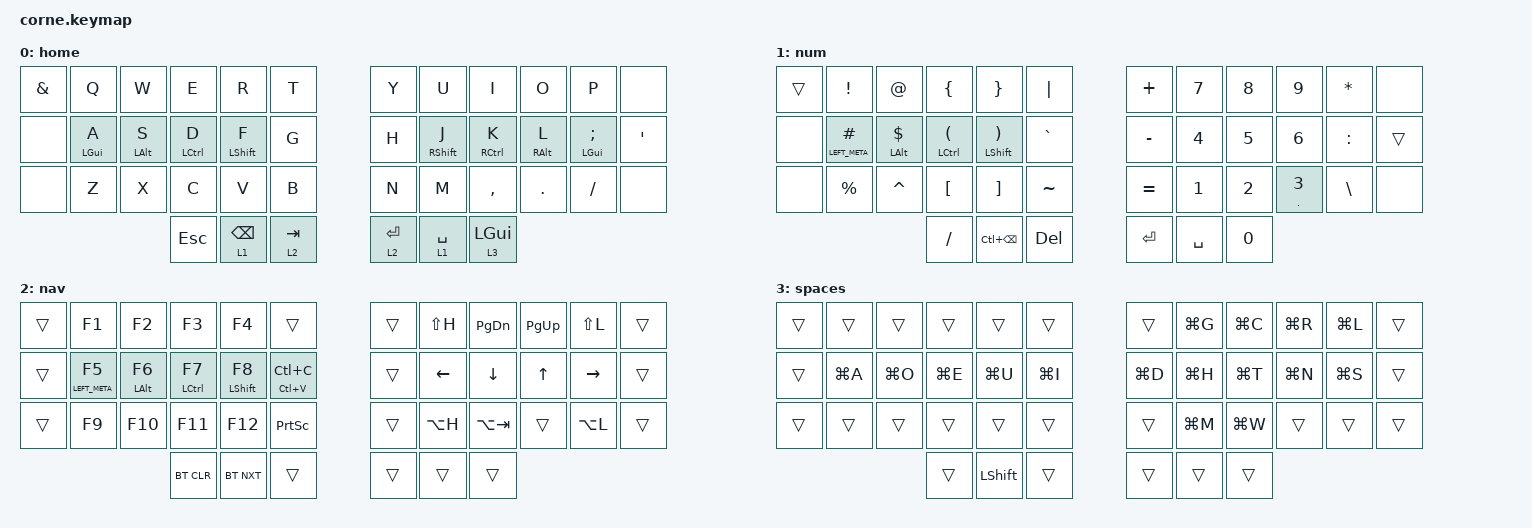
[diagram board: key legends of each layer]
/*
 * Copyright (c) 2020 The ZMK Contributors
 *
 * SPDX-License-Identifier: MIT
 */

#include <behaviors.dtsi>
#include <dt-bindings/zmk/bt.h>
#include <dt-bindings/zmk/keys.h>

/ {
    behaviors {
        hm: homerow_mods {
            compatible = "zmk,behavior-hold-tap";
            label = "HOMEROW_MODS";
            bindings = <&kp>, <&kp>;

            #binding-cells = <2>;
            tapping-term-ms = <200>;
            flavor = "tap-preferred";
            require-prior-idle-ms = <125>;
            quick-tap-ms = <200>;
        };

        shifthr: shifthr {
            compatible = "zmk,behavior-hold-tap";
            label = "SHIFTHR";
            bindings = <&kp>, <&kp>;

            #binding-cells = <2>;
            tapping-term-ms = <185>;
            flavor = "tap-preferred";
            quick-tap-ms = <185>;
        };

        weak: weak {
            compatible = "zmk,behavior-hold-tap";
            label = "WEAK";
            bindings = <&kp>, <&kp>;

            #binding-cells = <2>;
            tapping-term-ms = <230>;
            flavor = "tap-preferred";
            require-prior-idle-ms = <125>;
            quick-tap-ms = <230>;
        };

        backspace: backspace {
            compatible = "zmk,behavior-tap-dance";
            label = "BACKSPACE";
            #binding-cells = <0>;
            bindings = <&kp BACKSPACE>, <&kp LC(BACKSPACE)>;
        };
    };

    combos {
        compatible = "zmk,combos";

        caps {
            bindings = <&kp CAPS>;
            key-positions = <16 19>;
        };

        jk_fix {
            bindings = <&kp ESCAPE>;
            key-positions = <31 32>;
        };

        under {
            bindings = <&kp UNDER>;
            key-positions = <28 31>;
        };

        dash {
            bindings = <&kp MINUS>;
            key-positions = <4 7>;
        };
    };

    macros {
        save: save {
            compatible = "zmk,behavior-macro";
            #binding-cells = <0>;
            bindings = <&macro_tap>, <&kp ESCAPE &kp COLON &kp W &kp ENTER>;

            label = "SAVE";
        };

        email: email {
            compatible = "zmk,behavior-macro";
            #binding-cells = <0>;
            bindings = <&none &kp J &kp O &kp S &kp H &kp AT &kp J &kp O &kp S &kp H &kp B &kp L &kp A &kp I &kp S &kp DOT &kp C &kp O &kp M>;
            label = "EMAIL";
        };
    };

    keymap {
        compatible = "zmk,keymap";

        home {
            // -----------------------------------------------------------------------------------------
            // |  TAB |  Q  |  W  |  E  |  R  |  T  |   |  Y  |  U   |  I  |  O  |  P  | BKSP |
            // | CTRL |  A  |  S  |  D  |  F  |  G  |   |  H  |  J   |  K  |  L  |  ;  |  '   |
            // | SHFT |  Z  |  X  |  C  |  V  |  B  |   |  N  |  M   |  ,  |  .  |  /  | ESC  |
            //                    | GUI | LWR | SPC |   | ENT | RSE  | ALT |

            bindings = <
&kp AMPERSAND  &kp Q            &kp W                &kp E                    &kp R                  &kp T        &kp Y        &kp U              &kp I             &kp O                 &kp P                    &none
&none          &shifthr LGUI A  &shifthr LEFT_ALT S  &shifthr LEFT_CONTROL D  &shifthr LEFT_SHIFT F  &kp G        &kp H        &shifthr RSHIFT J  &shifthr RCTRL K  &shifthr RIGHT_ALT L  &shifthr LGUI SEMICOLON  &kp SQT
&none          &kp Z            &kp X                &kp C                    &kp V                  &kp B        &kp N        &kp M              &kp COMMA         &kp PERIOD            &kp SLASH                &none
                                             &kp ESCAPE               &lt 1 BACKSPACE        &lt 2 TAB    &lt 2 ENTER  &lt 1 SPACE        &lt 3 LGUI
            >;

            label = "home";
        };

        num {
            // -----------------------------------------------------------------------------------------
            // |  TAB |  !  |  @  |  #  |  $  |  %  |   |  ^  |  &  |  *  |  (  |  )  | BKSP |
            // | CTRL |     |     |     |     |     |   |  -  |  =  |  [  |  ]  |  \  |  `   |
            // | SHFT |     |     |     |     |     |   |  _  |  +  |  {  |  }  | "|" |  ~   |
            //                    | GUI |     | SPC |   | ENT |     | ALT |

            bindings = <
&trans  &kp EXCL            &kp AT               &kp LEFT_BRACE              &kp RIGHT_BRACE                   &kp PIPE     &kp PLUS   &kp NUMBER_7  &kp N8        &kp N9                    &kp ASTERISK   &none
&none   &hm LEFT_META HASH  &hm LEFT_ALT DOLLAR  &hm LCTRL LEFT_PARENTHESIS  &hm LEFT_SHIFT RIGHT_PARENTHESIS  &kp GRAVE    &kp MINUS  &kp NUMBER_4  &kp NUMBER_5  &kp NUMBER_6              &kp COLON      &trans
&none   &kp PERCENT         &kp CARET            &kp LEFT_BRACKET            &kp RIGHT_BRACKET                 &kp TILDE    &kp EQUAL  &kp NUMBER_1  &kp NUMBER_2  &shifthr PERIOD NUMBER_3  &kp BACKSLASH  &none
                                                &kp SLASH                   &kp LC(BACKSPACE)                 &kp DEL      &kp RET    &kp SPACE     &kp N0
            >;

            label = "num";
        };

        nav {
            bindings = <
&trans  &kp F1            &kp F2           &kp F3        &kp F4             &trans             &trans  &kp LS(H)  &kp PG_DN    &kp PG_UP  &kp LS(L)  &trans
&trans  &hm LEFT_META F5  &hm LEFT_ALT F6  &hm LCTRL F7  &hm LEFT_SHIFT F8  &hm LC(V) LC(C)    &trans  &kp LEFT   &kp DOWN     &kp UP     &kp RIGHT  &trans
&trans  &kp F9            &kp F10          &kp F11       &kp F12            &kp PSCRN          &trans  &kp LA(H)  &kp LA(TAB)  &trans     &kp LA(L)  &trans
                                           &bt BT_CLR    &bt BT_NXT         &trans             &trans  &trans     &trans
            >;

            label = "nav";
        };

        spaces {
            bindings = <
&trans  &trans     &trans     &trans     &trans          &trans       &trans     &kp LG(G)  &kp LG(C)  &kp LG(R)  &kp LG(L)  &trans
&trans  &kp LG(A)  &kp LG(O)  &kp LG(E)  &kp LG(U)       &kp LG(I)    &kp LG(D)  &kp LG(H)  &kp LG(T)  &kp LG(N)  &kp LG(S)  &trans
&trans  &trans     &trans     &trans     &trans          &trans       &trans     &kp LG(M)  &kp LG(W)  &trans     &trans     &trans
                              &trans     &kp LEFT_SHIFT  &trans       &trans     &trans     &trans
            >;
        };
    };
};
